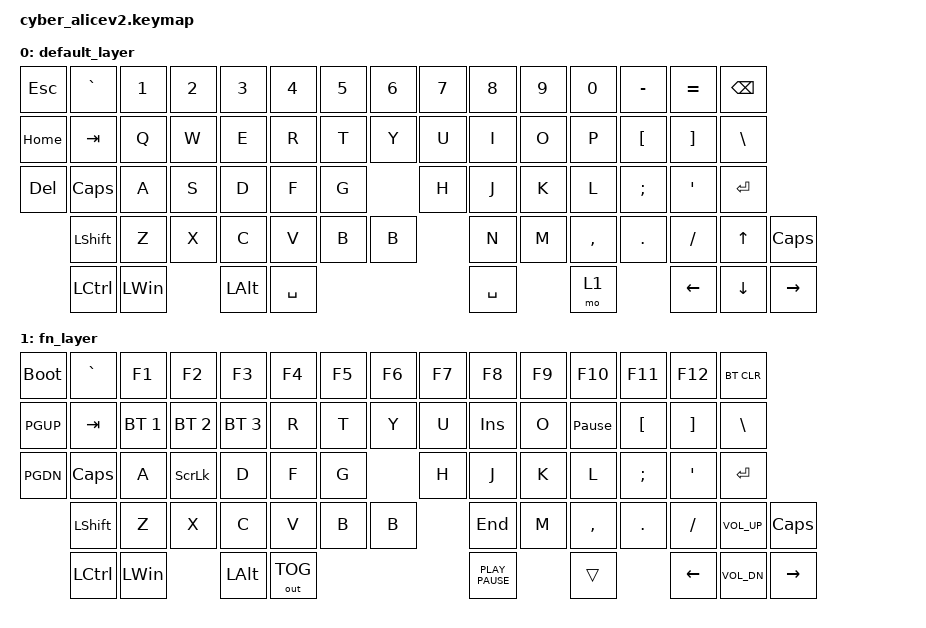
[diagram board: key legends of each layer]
/*
 * Copyright (c) 2020 The ZMK Contributors
 *
 * SPDX-License-Identifier: MIT
 */

#include <behaviors.dtsi>
#include <dt-bindings/zmk/keys.h>
#include <dt-bindings/zmk/bt.h>
#include <dt-bindings/zmk/rgb.h>
#include <dt-bindings/zmk/outputs.h>
#include <dt-bindings/zmk/ext_power.h>

/ {
	keymap0: keymap {
		compatible = "zmk,keymap";

		default_layer {
// ------------------------------------------------------------------------------------------------------------------
// |  ESC  |  `  |  1  |  2  |  3  |  4  |  5  |  6  |         |  7  |  8  |  9  |  0  |  -  |  =  |     |   BKSP   | 
// | Home  | TAB |  Q  |  W  |  E  |  R  |  T  |               |  Y  |  U  |  I  |  O  |  P  |  [  |  ]  |   "|"    | 
// | Delete| CAPS|  A  |  S  |  D  |  F  |  G  |               |  H  |  J  |  K  |  L  |  ;  |  '  |     |   ENTER  | 
//         |SHIFT|  Z  |  X  |  C  |  V  |  B  |               |  B  |  N  |  M  |  ,  |  .  |  /  |  UP |   CAPS   |
//         | CTL | win |     | ALT |SPACE|     |     |         |     |SPACE|     |  fn |     |LEFT | DOWN|   RIGHT  |
// ------------------------------------------------------------------------------------------------------------------
                bindings = <
	&kp ESC    &kp GRAVE &kp N1 &kp N2 &kp N3   &kp N4 &kp N5 &kp N6     &kp N7 &kp N8 &kp N9 &kp N0    &kp MINUS &kp EQUAL           &kp BSPC  
        &kp HOME   &kp TAB   &kp Q  &kp W  &kp E    &kp R  &kp T             &kp Y  &kp U  &kp I  &kp O     &kp P     &kp LBKT  &kp RBKT  &kp BSLH 
	&kp DELETE &kp CLCK  &kp A  &kp S  &kp D    &kp F  &kp G             &kp H  &kp J  &kp K  &kp L     &kp SEMI  &kp SQT             &kp RET   
	           &kp LSHFT &kp Z  &kp X  &kp C    &kp V  &kp B             &kp B  &kp N  &kp M  &kp COMMA &kp DOT   &kp FSLH  &kp UP    &kp CLCK
	           &kp LCTRL &kp LWIN      &kp LALT &kp SPACE                       &kp SPACE     &mo 1               &kp LEFT  &kp DOWN  &kp RIGHT
			>;
		};

		fn_layer {
// ------------------------------------------------------------------------------------------------------------------
// | BOOT  |  `  |  F1 |  F2 |  F3 |  F4 |  F5 |  F6 |         |  F7 |  F8 |  F9 | F10 | F11 | F12 |     |   BT_CLR |     
// | PgUp  | TAB | BT1 | BT2 | BT3 |  R  |  T  |               |  Y  |  U  | INS |  O  |  PB |  [  |  ]  |   "|"    | 
// | PgDn  | CAPS|  A  | SLCK|  D  |  F  |  G  |               |  H  |  J  |  K  |  L  |  ;  |  '  |     |   ENTER  | 
//         |SHIFT|  Z  |  X  |  C  |  V  |  B  |               |  B  | END |  M  |  ,  |  .  |  /  |VOLUP|   CAPS   |
//         | CTL | win |     | ALT |USB/BT|    |     |         |     |  PP |    |  fn |     |LEFT |VOLDN|   RIGHT  |
// ------------------------------------------------------------------------------------------------------------------
			bindings = <
        &bootloader &kp GRAVE  &kp F1       &kp F2       &kp F3       &kp F4       &kp F5   &kp F6         &kp F7  &kp F8             &kp F9    &kp F10    &kp F11          &kp F12               &bt BT_CLR
        &kp PGUP    &kp TAB    &bt BT_SEL 1 &bt BT_SEL 2 &bt BT_SEL 3 &kp R        &kp T                   &kp Y   &kp U              &kp INS   &kp O     &kp PAUSE_BREAK  &kp LBKT  &kp RBKT     &kp BSLH 
        &kp PGDN    &kp CLCK   &kp A        &kp SLCK     &kp D        &kp F        &kp G                    &kp H   &kp J             &kp K     &kp L     &kp SEMI         &kp SQT                &kp RET        
                    &kp LSHFT  &kp Z        &kp X        &kp C        &kp V        &kp B                    &kp B   &kp END           &kp M     &kp COMMA &kp DOT          &kp FSLH  &kp C_VOL_UP &kp CLCK
                    &kp LCTRL  &kp LWIN                  &kp LALT     &out OUT_TOG                          &kp K_PLAY_PAUSE                     &trans                    &kp LEFT  &kp C_VOL_DN &kp RIGHT
			>;	
		};
	};
};
